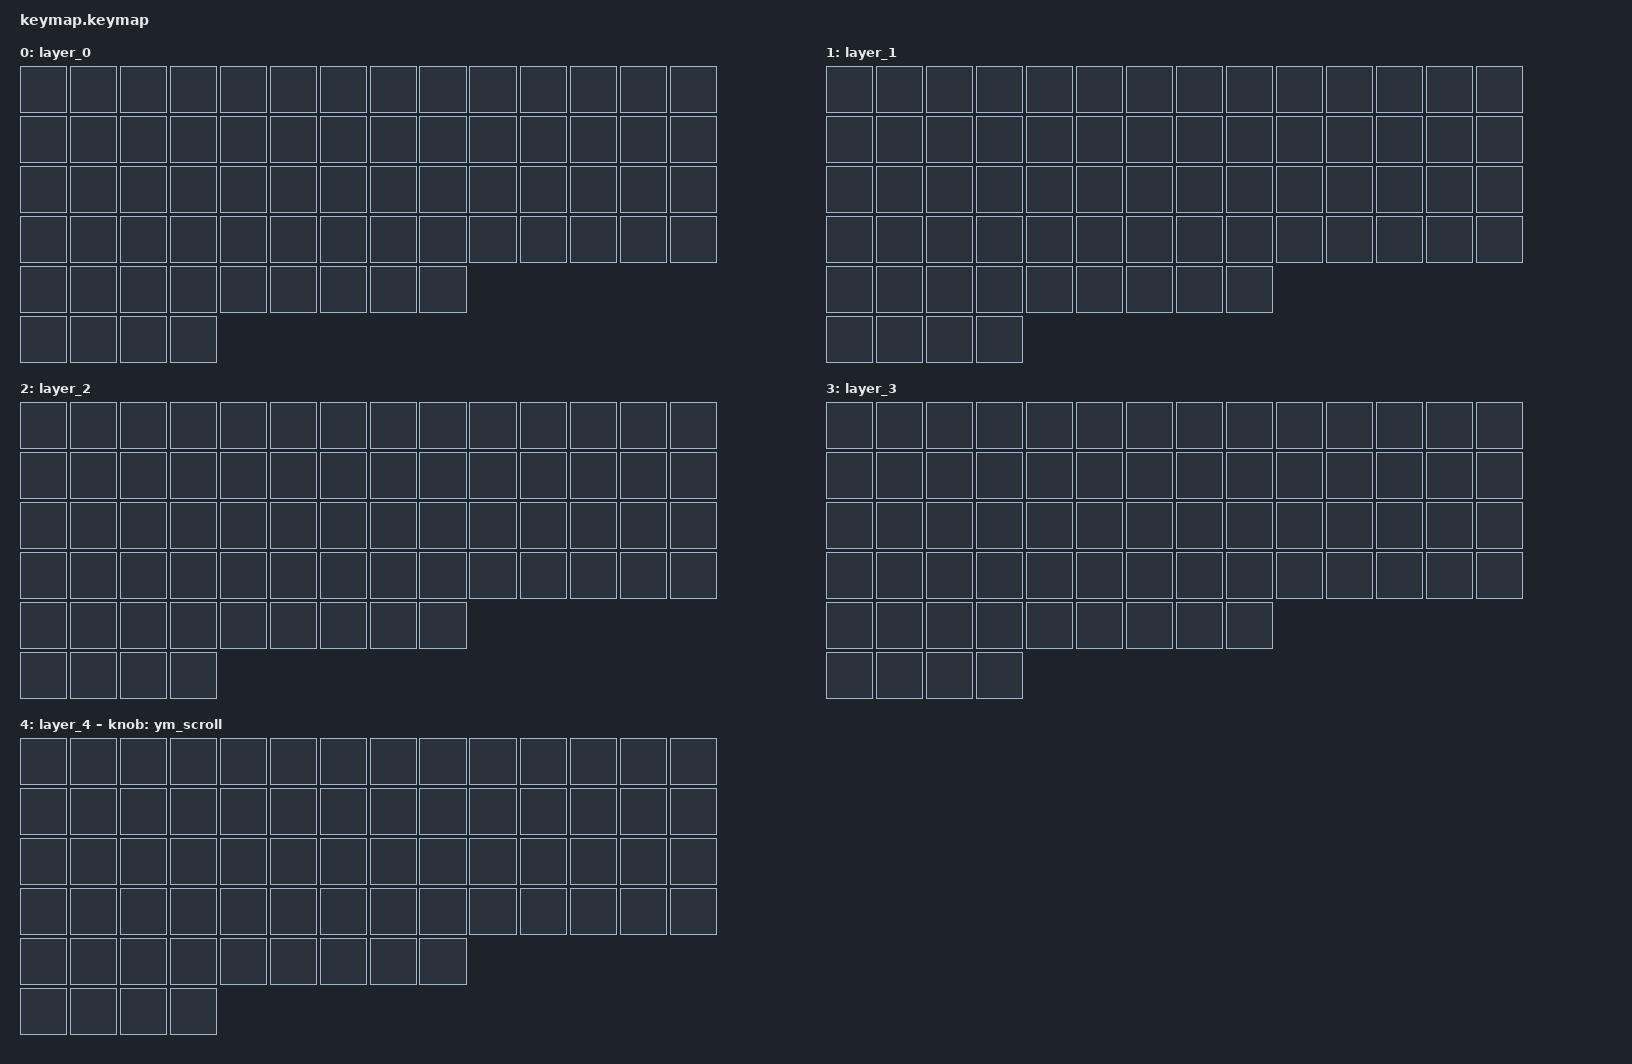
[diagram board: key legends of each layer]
#include <behaviors.dtsi>
#include <dt-bindings/zmk/keys.h>
#include <dt-bindings/zmk/pointing.h>

/ {
    behaviors {
        // 上下の動きをスクロールに変換するビヘイビアを "ym_scroll" という名前で定義
        ym_scroll {
            compatible = "zmk,behavior-pointing-mouse-sensor-scroll";
            label = "YM_SCROLL";
            #sensor-binding-cells = <0>;
            // もし上下のスクロール方向を逆にしたい場合は、次の行のコメントを外す
            // invert-y;
            // もし左右のスクロールを無効にしたい場合は、次の行のコメントを外す
            ignore-x;
        };
    };

    keymap {
        compatible = "zmk,keymap";

        layer_0 {
            bindings = <
                &none &none &none &none &none &none &none &none &none &none &none &none &none &none
                &none &none &none &none &none &none &none &none &none &none &none &none &none &none
                &none &none &none &none &none &none &none &none &none &none &none &none &none &none
                &none &none &none &none &none &none &none &none &none &none &none &none &none &none
                &none &none &none &none &none &none &none &none &none
                &none &none &none &none
            >;
        };

        layer_1 {
            bindings = <
                &none &none &none &none &none &none &none &none &none &none &none &none &none &none
                &none &none &none &none &none &none &none &none &none &none &none &none &none &none
                &none &none &none &none &none &none &none &none &none &none &none &none &none &none
                &none &none &none &none &none &none &none &none &none &none &none &none &none &none
                &none &none &none &none &none &none &none &none &none
                &none &none &none &none
            >;
        };

        layer_2 {
            bindings = <
                &none &none &none &none &none &none &none &none &none &none &none &none &none &none
                &none &none &none &none &none &none &none &none &none &none &none &none &none &none
                &none &none &none &none &none &none &none &none &none &none &none &none &none &none
                &none &none &none &none &none &none &none &none &none &none &none &none &none &none
                &none &none &none &none &none &none &none &none &none
                &none &none &none &none
            >;
        };

        layer_3 {
            bindings = <
                &none &none &none &none &none &none &none &none &none &none &none &none &none &none
                &none &none &none &none &none &none &none &none &none &none &none &none &none &none
                &none &none &none &none &none &none &none &none &none &none &none &none &none &none
                &none &none &none &none &none &none &none &none &none &none &none &none &none &none
                &none &none &none &none &none &none &none &none &none
                &none &none &none &none
            >;
        };
        
        layer_4 {
            bindings = <
                &none &none &none &none &none &none &none &none &none &none &none &none &none &none
                &none &none &none &none &none &none &none &none &none &none &none &none &none &none
                &none &none &none &none &none &none &none &none &none &none &none &none &none &none
                &none &none &none &none &none &none &none &none &none &none &none &none &none &none
                &none &none &none &none &none &none &none &none &none
                &none &none &none &none
            >;
            sensor-bindings = <&ym_scroll>; // このレイヤーでは上下の動きがスクロールになる
        };
    };
};
